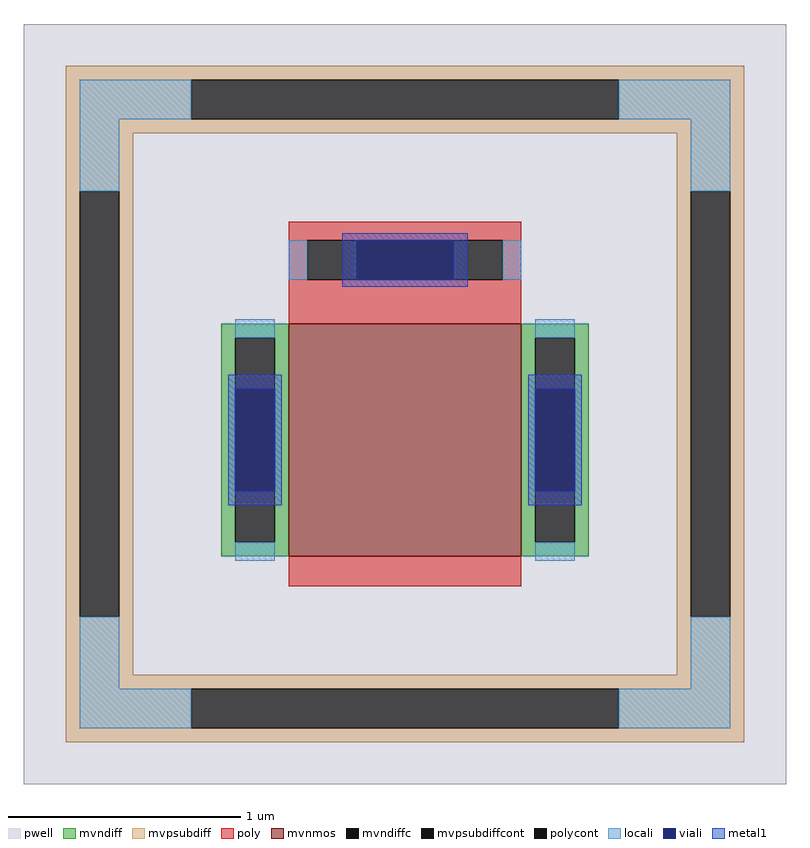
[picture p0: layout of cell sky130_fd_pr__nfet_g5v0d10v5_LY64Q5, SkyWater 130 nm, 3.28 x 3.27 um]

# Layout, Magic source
magic
tech sky130A
magscale 1 2
<< pwell >>
rect -328 -327 328 327
<< mvnmos >>
rect -100 -131 100 69
<< mvndiff >>
rect -158 57 -100 69
rect -158 -119 -146 57
rect -112 -119 -100 57
rect -158 -131 -100 -119
rect 100 57 158 69
rect 100 -119 112 57
rect 146 -119 158 57
rect 100 -131 158 -119
<< mvndiffc >>
rect -146 -119 -112 57
rect 112 -119 146 57
<< mvpsubdiff >>
rect -292 279 292 291
rect -292 245 -184 279
rect 184 245 292 279
rect -292 233 292 245
rect -292 183 -234 233
rect -292 -183 -280 183
rect -246 -183 -234 183
rect 234 183 292 233
rect -292 -233 -234 -183
rect 234 -183 246 183
rect 280 -183 292 183
rect 234 -233 292 -183
rect -292 -245 292 -233
rect -292 -279 -184 -245
rect 184 -279 292 -245
rect -292 -291 292 -279
<< mvpsubdiffcont >>
rect -184 245 184 279
rect -280 -183 -246 183
rect 246 -183 280 183
rect -184 -279 184 -245
<< poly >>
rect -100 141 100 157
rect -100 107 -84 141
rect 84 107 100 141
rect -100 69 100 107
rect -100 -157 100 -131
<< polycont >>
rect -84 107 84 141
<< locali >>
rect -280 245 -184 279
rect 184 245 280 279
rect -280 183 -246 245
rect 246 183 280 245
rect -100 107 -84 141
rect 84 107 100 141
rect -146 57 -112 73
rect -146 -135 -112 -119
rect 112 57 146 73
rect 112 -135 146 -119
rect -280 -245 -246 -183
rect 246 -245 280 -183
rect -280 -279 -184 -245
rect 184 -279 280 -245
<< viali >>
rect -42 107 42 141
rect -146 -75 -112 13
rect 112 -75 146 13
<< metal1 >>
rect -54 141 54 147
rect -54 107 -42 141
rect 42 107 54 141
rect -54 101 54 107
rect -152 13 -106 25
rect -152 -75 -146 13
rect -112 -75 -106 13
rect -152 -87 -106 -75
rect 106 13 152 25
rect 106 -75 112 13
rect 146 -75 152 13
rect 106 -87 152 -75
<< properties >>
string FIXED_BBOX -263 -262 263 262
string gencell sky130_fd_pr__nfet_g5v0d10v5
string library sky130
string parameters w 1 l 1 m 1 nf 1 diffcov 100 polycov 100 guard 1 glc 1 grc 1 gtc 1 gbc 1 tbcov 100 rlcov 100 topc 1 botc 0 poverlap 0 doverlap 1 lmin 0.50 wmin 0.42 compatible {sky130_fd_pr__nfet_01v8 sky130_fd_pr__nfet_01v8_lvt  sky130_fd_bs_flash__special_sonosfet_star  sky130_fd_pr__nfet_g5v0d10v5 sky130_fd_pr__nfet_05v0_nvt  sky130_fd_pr__nfet_03v3_nvt} full_metal 1 viasrc 50 viadrn 50 viagate 50 viagb 0 viagr 0 viagl 0 viagt 0
<< end >>
